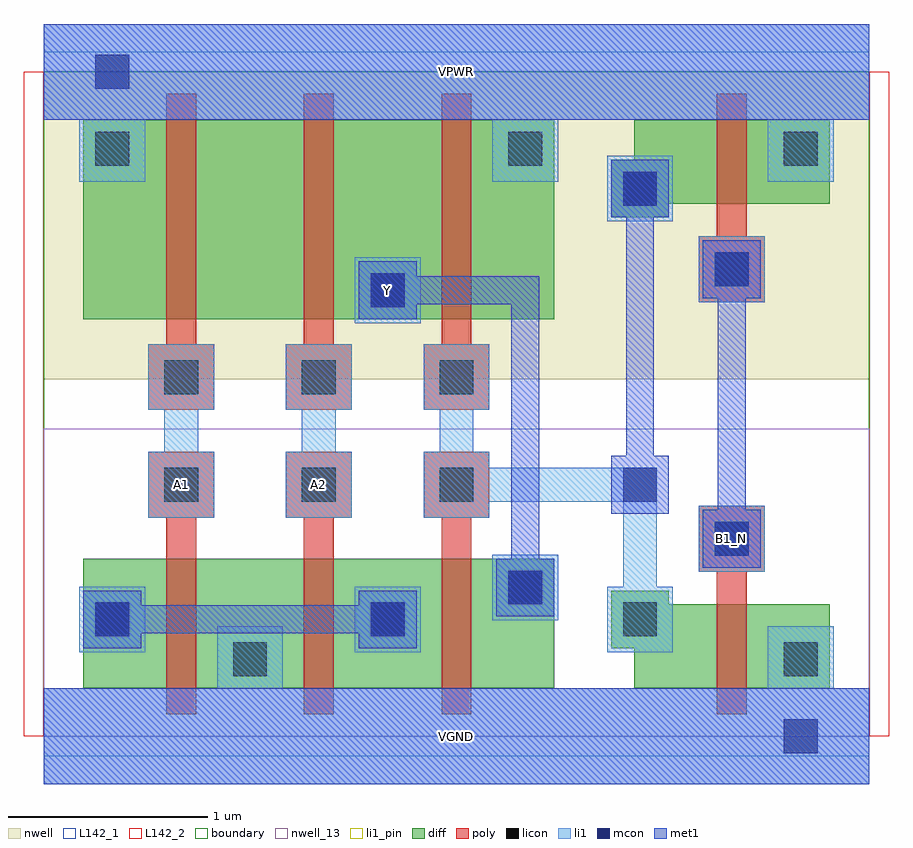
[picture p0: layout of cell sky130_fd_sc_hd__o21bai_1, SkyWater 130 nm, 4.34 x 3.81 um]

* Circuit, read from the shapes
.subckt sky130_fd_sc_hd__o21bai_1 A1 A2 B1_N VGND VPWR Y
XM1 VGND A1 n1 VSUBS sky130_fd_pr__nfet_01v8 w=0.65 l=0.15
XM2 n1 A2 VGND VSUBS sky130_fd_pr__nfet_01v8 w=0.65 l=0.15
XM3 Y n2 n1 VSUBS sky130_fd_pr__nfet_01v8 w=0.65 l=0.15
XM4 VGND B1_N n2 VSUBS sky130_fd_pr__nfet_01v8 w=0.42 l=0.15
XM5 n3 A1 VPWR n4 sky130_fd_pr__pfet_01v8 w=1 l=0.15
XM6 Y A2 n3 n4 sky130_fd_pr__pfet_01v8 w=1 l=0.15
XM7 VPWR n2 Y n4 sky130_fd_pr__pfet_01v8 w=1 l=0.15
XM8 VPWR B1_N n2 n4 sky130_fd_pr__pfet_01v8 w=0.42 l=0.15
.ends

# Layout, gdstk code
import gdstk
lib = gdstk.Library(unit=1e-6, precision=1e-09)
def R(c, l, rs):  # rectangles x0, y0, x1, y1
    for r in rs: c.add(gdstk.rectangle(r[:2], r[2:], *l))
def A(c, l, x, y, w, h, nx, ny, dx, dy):  # array of equal rectangles
    R(c, l, [(x+i*dx, y+j*dy, x+i*dx+w, y+j*dy+h) for i in range(nx) for j in range(ny)])
def P(c, l, *ps):  # polygons
    for p in ps: c.add(gdstk.Polygon(p, *l))
nwell_13 = (64, 13)
nwell = (64, 20)
diff = (65, 20)
poly = (66, 20)
licon = (66, 44)
li1_pin = (67, 16)
li1 = (67, 20)
mcon = (67, 44)
met1 = (68, 20)
L142_1 = (142, 1)
L142_2 = (142, 2)
boundary = (235, 4)

sky130_fd_sc_hd__o21bai_ = lib.new_cell('sky130_fd_sc_hd__o21bai_1')
R(sky130_fd_sc_hd__o21bai_, nwell_13, [(0,0,4.14,1.54)])
R(sky130_fd_sc_hd__o21bai_, nwell, [(0,1.79,4.14,3.33)])
R(sky130_fd_sc_hd__o21bai_, diff, [(0.2,0.24,2.56,0.89), (0.2,0.24,0.615,0.89), (0.615,0.24,1.305,0.89), (1.305,0.24,1.995,0.89), (1.995,0.24,2.56,0.89), (2.96,0.24,3.94,0.66), (3.375,0.24,3.94,0.66), (0.2,2.09,2.56,3.09), (0.2,2.09,0.615,3.09), (0.615,2.09,1.305,3.09), (1.305,2.09,1.995,3.09), (1.995,2.09,2.56,3.09), (2.96,2.67,3.94,3.09), (3.375,2.67,3.94,3.09)])
P(sky130_fd_sc_hd__o21bai_, diff, [(2.96,0.24),(2.96,0.44),(2.845,0.44),(2.845,0.73),(3.135,0.73),(3.135,0.66),(3.375,0.66),(3.375,0.24)],
  [(2.845,2.6),(2.845,2.89),(2.96,2.89),(2.96,3.09),(3.375,3.09),(3.375,2.67),(3.135,2.67),(3.135,2.6)])
P(sky130_fd_sc_hd__o21bai_, poly, [(3.375,0.11),(3.375,0.825),(3.285,0.825),(3.285,1.155),(3.615,1.155),(3.615,0.825),(3.525,0.825),(3.525,0.11)],
  [(3.285,2.175),(3.285,2.505),(3.375,2.505),(3.375,3.22),(3.525,3.22),(3.525,2.505),(3.615,2.505),(3.615,2.175)],
  [(1.305,0.11),(1.305,1.095),(1.215,1.095),(1.215,1.425),(1.545,1.425),(1.545,1.095),(1.455,1.095),(1.455,0.11)],
  [(1.215,1.635),(1.215,1.965),(1.305,1.965),(1.305,3.22),(1.455,3.22),(1.455,1.965),(1.545,1.965),(1.545,1.635)],
  [(0.615,0.11),(0.615,1.095),(0.525,1.095),(0.525,1.425),(0.855,1.425),(0.855,1.095),(0.765,1.095),(0.765,0.11)],
  [(0.525,1.635),(0.525,1.965),(0.615,1.965),(0.615,3.22),(0.765,3.22),(0.765,1.965),(0.855,1.965),(0.855,1.635)],
  [(1.995,0.11),(1.995,1.095),(1.905,1.095),(1.905,1.425),(2.235,1.425),(2.235,1.095),(2.145,1.095),(2.145,0.11)],
  [(1.905,1.635),(1.905,1.965),(1.995,1.965),(1.995,3.22),(2.145,3.22),(2.145,1.965),(2.235,1.965),(2.235,1.635)])
A(sky130_fd_sc_hd__o21bai_, licon, 0.605, 1.175, 0.17, 0.17, 3, 2, 0.69, 0.54)
R(sky130_fd_sc_hd__o21bai_, licon, [(0.95,0.3,1.12,0.47), (3.71,0.3,3.88,0.47), (0.26,0.5,0.43,0.67), (1.64,0.5,1.81,0.67), (2.905,0.5,3.075,0.67), (2.33,0.66,2.5,0.83), (3.365,0.905,3.535,1.075), (1.64,2.15,1.81,2.32), (3.365,2.255,3.535,2.425), (2.905,2.66,3.075,2.83), (0.26,2.86,0.43,3.03), (2.33,2.86,2.5,3.03), (3.71,2.86,3.88,3.03)])
R(sky130_fd_sc_hd__o21bai_, li1_pin, [(0,-0.24,4.14,0.24), (3.285,0.825,3.615,1.155), (1.56,2.07,1.89,2.4), (0,3.09,4.14,3.57)])
P(sky130_fd_sc_hd__o21bai_, li1_pin, [(0.525,1.095),(0.525,1.425),(0.605,1.425),(0.605,1.635),(0.525,1.635),(0.525,1.965),(0.855,1.965),(0.855,1.635),(0.775,1.635),(0.775,1.425),(0.855,1.425),(0.855,1.095)],
  [(1.215,1.095),(1.215,1.425),(1.295,1.425),(1.295,1.635),(1.215,1.635),(1.215,1.965),(1.545,1.965),(1.545,1.635),(1.465,1.635),(1.465,1.425),(1.545,1.425),(1.545,1.095)])
R(sky130_fd_sc_hd__o21bai_, li1, [(0.18,0.42,0.51,0.75), (1.56,0.42,1.89,0.75), (2.25,0.58,2.58,0.91), (3.285,0.825,3.615,1.155), (1.56,2.07,1.89,2.4), (3.285,2.175,3.615,2.505), (2.825,2.58,3.155,2.91)])
P(sky130_fd_sc_hd__o21bai_, li1, [(1.215,1.095),(1.215,1.425),(1.295,1.425),(1.295,1.635),(1.215,1.635),(1.215,1.965),(1.545,1.965),(1.545,1.635),(1.465,1.635),(1.465,1.425),(1.545,1.425),(1.545,1.095)],
  [(0.18,2.78),(0.18,3.09),(0,3.09),(0,3.57),(4.14,3.57),(4.14,3.09),(3.96,3.09),(3.96,2.78),(3.63,2.78),(3.63,3.09),(2.58,3.09),(2.58,2.78),(2.25,2.78),(2.25,3.09),(0.51,3.09),(0.51,2.78)],
  [(0.525,1.095),(0.525,1.425),(0.605,1.425),(0.605,1.635),(0.525,1.635),(0.525,1.965),(0.855,1.965),(0.855,1.635),(0.775,1.635),(0.775,1.425),(0.855,1.425),(0.855,1.095)],
  [(0,-0.24),(0,0.24),(0.87,0.24),(0.87,0.55),(1.2,0.55),(1.2,0.24),(3.63,0.24),(3.63,0.55),(3.96,0.55),(3.96,0.24),(4.14,0.24),(4.14,-0.24)],
  [(2.825,0.42),(2.825,0.75),(2.905,0.75),(2.905,1.175),(2.235,1.175),(2.235,1.095),(1.905,1.095),(1.905,1.425),(1.985,1.425),(1.985,1.635),(1.905,1.635),(1.905,1.965),(2.235,1.965),(2.235,1.635),(2.155,1.635),(2.155,1.425),(2.235,1.425),(2.235,1.345),(3.075,1.345),(3.075,0.75),(3.155,0.75),(3.155,0.42)])
R(sky130_fd_sc_hd__o21bai_, mcon, [(3.71,-0.085,3.88,0.085), (0.26,0.5,0.43,0.67), (1.64,0.5,1.81,0.67), (2.33,0.66,2.5,0.83), (3.365,0.905,3.535,1.075), (2.905,1.175,3.075,1.345), (1.64,2.15,1.81,2.32), (3.365,2.255,3.535,2.425), (2.905,2.66,3.075,2.83), (0.26,3.245,0.43,3.415)])
R(sky130_fd_sc_hd__o21bai_, met1, [(0,-0.24,4.14,0.24), (0,3.09,4.14,3.57)])
P(sky130_fd_sc_hd__o21bai_, met1, [(2.27,0.6),(2.27,0.89),(2.345,0.89),(2.345,2.165),(1.87,2.165),(1.87,2.09),(1.58,2.09),(1.58,2.38),(1.87,2.38),(1.87,2.305),(2.485,2.305),(2.485,0.89),(2.56,0.89),(2.56,0.6)],
  [(3.305,0.845),(3.305,1.135),(3.38,1.135),(3.38,2.195),(3.305,2.195),(3.305,2.485),(3.595,2.485),(3.595,2.195),(3.52,2.195),(3.52,1.135),(3.595,1.135),(3.595,0.845)],
  [(0.2,0.44),(0.2,0.73),(0.49,0.73),(0.49,0.655),(1.58,0.655),(1.58,0.73),(1.87,0.73),(1.87,0.44),(1.58,0.44),(1.58,0.515),(0.49,0.515),(0.49,0.44)],
  [(2.845,1.115),(2.845,1.405),(2.92,1.405),(2.92,2.6),(2.845,2.6),(2.845,2.89),(3.135,2.89),(3.135,2.6),(3.06,2.6),(3.06,1.405),(3.135,1.405),(3.135,1.115)])
R(sky130_fd_sc_hd__o21bai_, L142_1, [(0,-0.1,4.14,0), (0,3.33,4.14,3.43)])
R(sky130_fd_sc_hd__o21bai_, L142_2, [(-0.1,0,0,3.33), (4.14,0,4.24,3.33)])
R(sky130_fd_sc_hd__o21bai_, boundary, [(0,0,4.14,3.33)])
sky130_fd_sc_hd__o21bai_.add(gdstk.Label('Y', (1.725,2.235), layer=67, texttype=5))
sky130_fd_sc_hd__o21bai_.add(gdstk.Label('A1', (0.69,1.26), layer=67, texttype=5))
sky130_fd_sc_hd__o21bai_.add(gdstk.Label('B1_N', (3.45,0.99), layer=67, texttype=5))
sky130_fd_sc_hd__o21bai_.add(gdstk.Label('A2', (1.38,1.26), layer=67, texttype=5))
sky130_fd_sc_hd__o21bai_.add(gdstk.Label('VGND', (2.07,0), layer=67, texttype=5))
sky130_fd_sc_hd__o21bai_.add(gdstk.Label('VPWR', (2.07,3.33), layer=67, texttype=5))
sky130_fd_sc_hd__o21bai_.add(gdstk.Label('VGND', (2.07,0), layer=68, texttype=5))
sky130_fd_sc_hd__o21bai_.add(gdstk.Label('VPWR', (2.07,3.33), layer=68, texttype=5))

lib.write_gds('sky130_fd_sc_hd__o21bai_1.gds')
